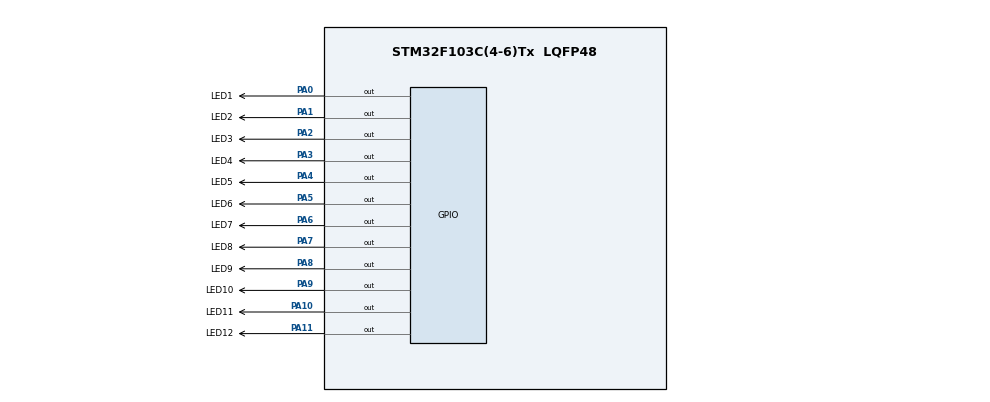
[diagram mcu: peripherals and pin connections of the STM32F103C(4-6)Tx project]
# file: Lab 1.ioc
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Mcu.Family=STM32F1
Mcu.Name=STM32F103C(4-6)Tx
Mcu.Package=LQFP48
NVIC.PriorityGroup=NVIC_PRIORITYGROUP_4
PA0-WKUP.GPIO_Label=LED1
PA0-WKUP.Signal=GPIO_Output
PA1.GPIO_Label=LED2
PA1.Signal=GPIO_Output
PA10.GPIO_Label=LED11
PA10.Signal=GPIO_Output
PA11.GPIO_Label=LED12
PA11.Signal=GPIO_Output
PA2.GPIO_Label=LED3
PA2.Signal=GPIO_Output
PA3.GPIO_Label=LED4
PA3.Signal=GPIO_Output
PA4.GPIO_Label=LED5
PA4.Signal=GPIO_Output
PA5.GPIO_Label=LED6
PA5.Signal=GPIO_Output
PA6.GPIO_Label=LED7
PA6.Signal=GPIO_Output
PA7.GPIO_Label=LED8
PA7.Signal=GPIO_Output
PA8.GPIO_Label=LED9
PA8.Signal=GPIO_Output
PA9.GPIO_Label=LED10
PA9.Signal=GPIO_Output
ProjectManager.HeapSize=0x200
ProjectManager.StackSize=0x400
ProjectManager.TargetToolchain=STM32CubeIDE
RCC.APB1Freq_Value=8000000
RCC.APB2Freq_Value=8000000
board=custom

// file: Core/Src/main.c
/* USER CODE BEGIN Header */
/**
  ******************************************************************************
  * @file           : main.c
  * @brief          : Main program body
  ******************************************************************************
  * @attention
  *
  * Copyright (c) 2025 STMicroelectronics.
  * All rights reserved.
  *
  * This software is licensed under terms that can be found in the LICENSE file
  * in the root directory of this software component.
  * If no LICENSE file comes with this software, it is provided AS-IS.
  *
  ******************************************************************************
  */
/* USER CODE END Header */
#include "main.h"

/* USER CODE BEGIN PV */

int second = 0;
int minute = 0;
int hour = 0;
int delayTime = 0;

const uint16_t LED_Pins[12] = {
    LED1_Pin, LED2_Pin, LED3_Pin, LED4_Pin,
    LED5_Pin, LED6_Pin, LED7_Pin, LED8_Pin,
    LED9_Pin, LED10_Pin, LED11_Pin, LED12_Pin
};

/* USER CODE END PV */

void SystemClock_Config(void);
static void MX_GPIO_Init(void);

/* USER CODE BEGIN 0 */

void setDelayTime(int dt)
{
	delayTime = dt;
}

void setTime(int h, int m, int s)
{
	hour = h;
	minute = m;
	second = s;
}

void setAllClock()
{
	for (int i = 0; i < 12; i++)
	{
		HAL_GPIO_WritePin(GPIOA, LED_Pins[i], GPIO_PIN_SET);
	}
}

void clearAllClock()
{
	for (int i = 0; i < 12; i++)
	{
		HAL_GPIO_WritePin(GPIOA, LED_Pins[i], GPIO_PIN_RESET);
	}
}

void setNumberOnClock(int num)
{
    HAL_GPIO_WritePin(GPIOA, LED_Pins[num], GPIO_PIN_SET);
}

void clearNumberOnClock(int num)
{
    HAL_GPIO_WritePin(GPIOA, LED_Pins[num], GPIO_PIN_RESET);
}

/* USER CODE END 0 */

int main(void)
{

  /* MCU Configuration--------------------------------------------------------*/

  /* Reset of all peripherals, Initializes the Flash interface and the Systick. */
  HAL_Init();

  /* Configure the system clock */
  SystemClock_Config();

  /* Initialize all configured peripherals */
  MX_GPIO_Init();

  /* Infinite loop */
  /* USER CODE BEGIN WHILE */

    setTime(0, 0, 0);
    setDelayTime(10);

    while (1)
    {
    /* USER CODE END WHILE */

    /* USER CODE BEGIN 3 */

		clearAllClock();
		setNumberOnClock(hour);
		setNumberOnClock(minute / 5);
		setNumberOnClock(second / 5);

		second++;

		if(second == 60)
		{
			second = 0;
			minute++;
		}

		if(minute == 60)
		{
			minute = 0;
			hour++;
		}

		if(hour == 12)
		{
			hour = 0;
		}

		HAL_Delay(delayTime);

    }
  /* USER CODE END 3 */
}

void SystemClock_Config(void)
{
  RCC_OscInitTypeDef RCC_OscInitStruct = {0};
  RCC_ClkInitTypeDef RCC_ClkInitStruct = {0};

  /** Initializes the RCC Oscillators according to the specified parameters
  * in the RCC_OscInitTypeDef structure.
  */
  RCC_OscInitStruct.OscillatorType = RCC_OSCILLATORTYPE_HSI;
  RCC_OscInitStruct.HSIState = RCC_HSI_ON;
  RCC_OscInitStruct.HSICalibrationValue = RCC_HSICALIBRATION_DEFAULT;
  RCC_OscInitStruct.PLL.PLLState = RCC_PLL_NONE;
  if (HAL_RCC_OscConfig(&RCC_OscInitStruct) != HAL_OK)
  {
    Error_Handler();
  }

  /** Initializes the CPU, AHB and APB buses clocks
  */
  RCC_ClkInitStruct.ClockType = RCC_CLOCKTYPE_HCLK|RCC_CLOCKTYPE_SYSCLK
                              |RCC_CLOCKTYPE_PCLK1|RCC_CLOCKTYPE_PCLK2;
  RCC_ClkInitStruct.SYSCLKSource = RCC_SYSCLKSOURCE_HSI;
  RCC_ClkInitStruct.AHBCLKDivider = RCC_SYSCLK_DIV1;
  RCC_ClkInitStruct.APB1CLKDivider = RCC_HCLK_DIV1;
  RCC_ClkInitStruct.APB2CLKDivider = RCC_HCLK_DIV1;

  if (HAL_RCC_ClockConfig(&RCC_ClkInitStruct, FLASH_LATENCY_0) != HAL_OK)
  {
    Error_Handler();
  }
}

static void MX_GPIO_Init(void)
{
  GPIO_InitTypeDef GPIO_InitStruct = {0};

  /* GPIO Ports Clock Enable */
  __HAL_RCC_GPIOA_CLK_ENABLE();

  /*Configure GPIO pin Output Level */
  HAL_GPIO_WritePin(GPIOA, LED1_Pin|LED2_Pin|LED3_Pin|LED4_Pin
                          |LED5_Pin|LED6_Pin|LED7_Pin|LED8_Pin
                          |LED9_Pin|LED10_Pin|LED11_Pin|LED12_Pin, GPIO_PIN_RESET);

  /*Configure GPIO pins : LED1_Pin LED2_Pin LED3_Pin LED4_Pin
                           LED5_Pin LED6_Pin LED7_Pin LED8_Pin
                           LED9_Pin LED10_Pin LED11_Pin LED12_Pin */
  GPIO_InitStruct.Pin = LED1_Pin|LED2_Pin|LED3_Pin|LED4_Pin
                          |LED5_Pin|LED6_Pin|LED7_Pin|LED8_Pin
                          |LED9_Pin|LED10_Pin|LED11_Pin|LED12_Pin;
  GPIO_InitStruct.Mode = GPIO_MODE_OUTPUT_PP;
  GPIO_InitStruct.Pull = GPIO_NOPULL;
  GPIO_InitStruct.Speed = GPIO_SPEED_FREQ_LOW;
  HAL_GPIO_Init(GPIOA, &GPIO_InitStruct);

}

void Error_Handler(void)
{
  __disable_irq();
  while (1)
  {
  }
}
